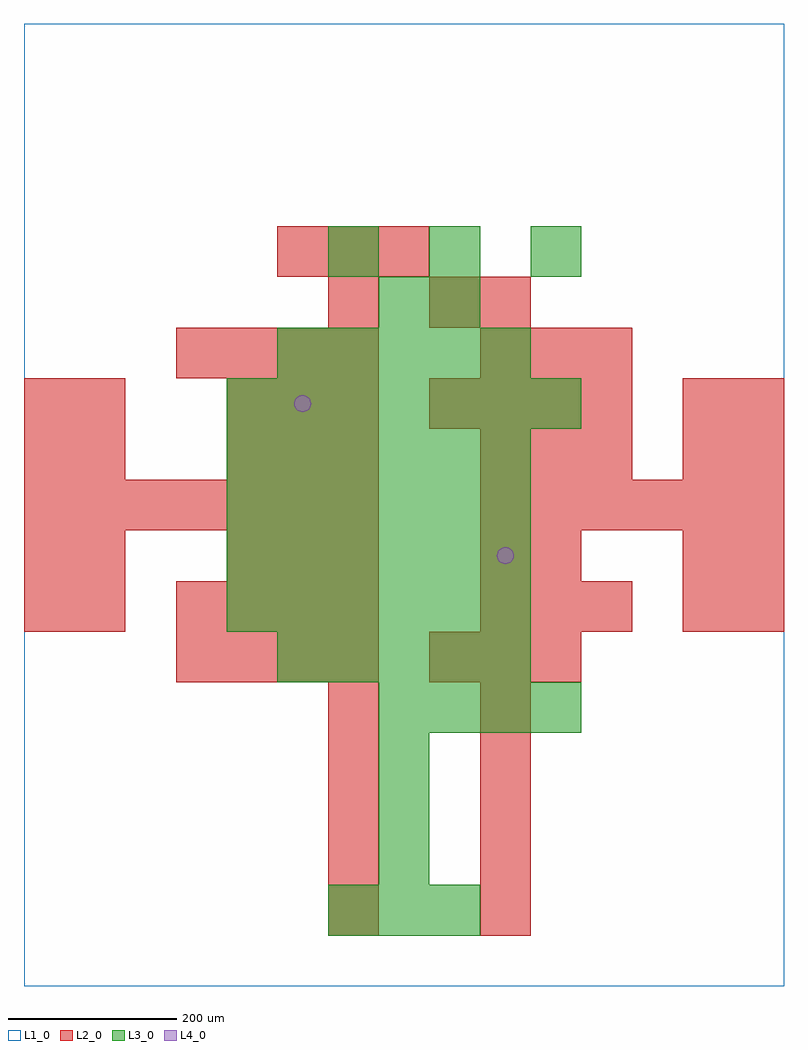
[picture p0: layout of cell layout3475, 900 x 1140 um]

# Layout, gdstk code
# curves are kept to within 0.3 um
import gdstk
lib = gdstk.Library(unit=1e-6, precision=1e-09)
def R(c, l, rs):  # rectangles x0, y0, x1, y1
    for r in rs: c.add(gdstk.rectangle(r[:2], r[2:], *l))
def A(c, l, x, y, w, h, nx, ny, dx, dy):  # array of equal rectangles
    R(c, l, [(x+i*dx, y+j*dy, x+i*dx+w, y+j*dy+h) for i in range(nx) for j in range(ny)])
def P(c, l, *ps):  # polygons
    for p in ps: c.add(gdstk.Polygon(p, *l))
L1_0 = (1, 0)
L2_0 = (2, 0)
L3_0 = (3, 0)
L4_0 = (4, 0)

layout3475 = lib.new_cell('layout3475')
R(layout3475, L1_0, [(0,0,900,1140)])
A(layout3475, L2_0, 360, 60, 60, 60, 1, 5, 0, 60)
A(layout3475, L2_0, 540, 60, 60, 60, 1, 5, 0, 60)
A(layout3475, L2_0, 180, 360, 60, 60, 4, 2, 60, 60)
A(layout3475, L2_0, 480, 360, 60, 60, 3, 1, 60, 0)
A(layout3475, L2_0, 540, 420, 60, 60, 3, 2, 60, 180)
A(layout3475, L2_0, 240, 480, 60, 60, 3, 2, 60, 120)
A(layout3475, L2_0, 0, 540, 60, 60, 7, 1, 60, 0)
A(layout3475, L2_0, 540, 540, 60, 60, 6, 1, 60, 0)
A(layout3475, L2_0, 240, 660, 60, 60, 3, 1, 60, 0)
A(layout3475, L2_0, 480, 660, 60, 60, 4, 1, 60, 0)
A(layout3475, L2_0, 180, 720, 60, 60, 4, 1, 60, 0)
A(layout3475, L2_0, 540, 720, 60, 60, 3, 1, 60, 0)
A(layout3475, L2_0, 300, 840, 60, 60, 3, 1, 60, 0)
R(layout3475, L2_0, [(0,420,60,480), (60,420,120,480), (780,420,840,480), (840,420,900,480), (0,480,60,540), (60,480,120,540), (540,480,600,540), (600,480,660,540), (780,480,840,540), (840,480,900,540), (0,600,60,660), (60,600,120,660), (780,600,840,660), (840,600,900,660), (0,660,60,720), (60,660,120,720), (780,660,840,720), (840,660,900,720), (360,780,420,840), (480,780,540,840), (540,780,600,840)])
A(layout3475, L3_0, 360, 60, 60, 60, 3, 1, 60, 0)
A(layout3475, L3_0, 420, 120, 60, 60, 1, 3, 0, 60)
A(layout3475, L3_0, 420, 300, 60, 60, 4, 1, 60, 0)
A(layout3475, L3_0, 300, 360, 60, 60, 5, 2, 60, 360)
A(layout3475, L3_0, 240, 420, 60, 60, 6, 4, 60, 60)
A(layout3475, L3_0, 240, 660, 60, 60, 7, 1, 60, 0)
A(layout3475, L3_0, 360, 840, 60, 60, 3, 1, 120, 0)
R(layout3475, L3_0, [(420,780,480,840), (480,780,540,840)])
P(layout3475, L4_0, [(340,690),(339.239,693.827),(337.071,697.071),(333.827,699.239),(330,700),(326.173,699.239),(322.929,697.071),(320.761,693.827),(320,690),(320.761,686.173),(322.929,682.929),(326.173,680.761),(330,680),(333.827,680.761),(337.071,682.929),(339.239,686.173)],
  [(580,510),(579.239,513.827),(577.071,517.071),(573.827,519.239),(570,520),(566.173,519.239),(562.929,517.071),(560.761,513.827),(560,510),(560.761,506.173),(562.929,502.929),(566.173,500.761),(570,500),(573.827,500.761),(577.071,502.929),(579.239,506.173)])

lib.write_gds('layout3475.gds')
